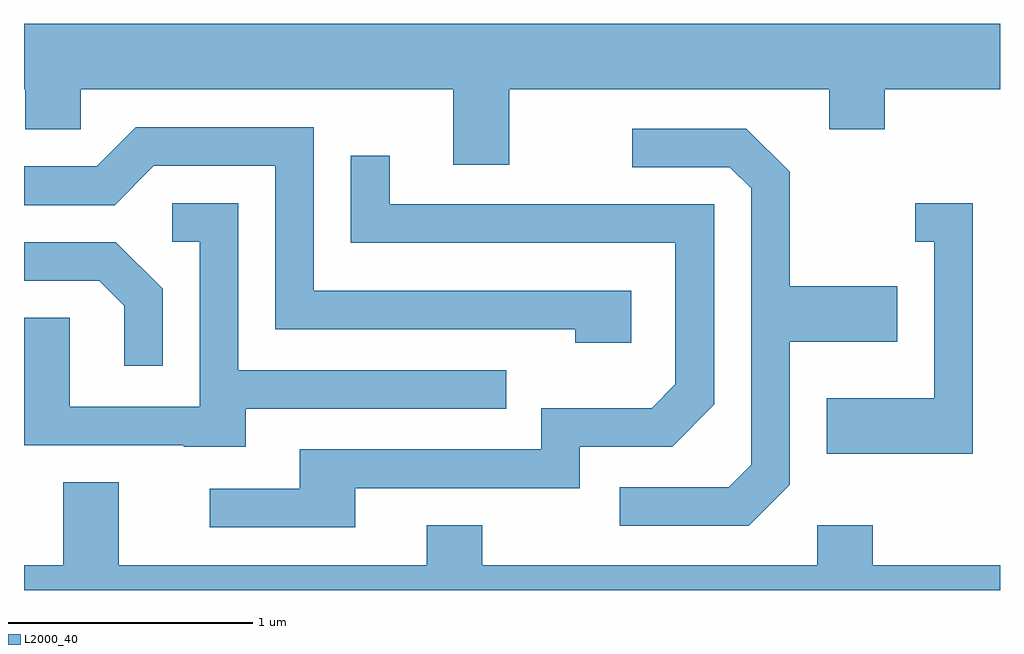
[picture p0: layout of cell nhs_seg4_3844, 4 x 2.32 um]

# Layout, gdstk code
import gdstk
lib = gdstk.Library(unit=1e-6, precision=1e-09)
def P(c, l, *ps):  # polygons
    for p in ps: c.add(gdstk.Polygon(p, *l))
L2000_40 = (2000, 40)

nhs_seg4_3844 = lib.new_cell('nhs_seg4_3844')
P(nhs_seg4_3844, L2000_40, [(299.599,1328.036),(300.911,1328.036),(300.911,1327.871),(301.139,1327.871),(301.139,1328.036),(301.611,1328.036),(301.611,1328.304),(297.611,1328.304),(297.611,1328.036),(297.616,1328.036),(297.616,1327.871),(297.844,1327.871),(297.844,1328.036),(299.371,1328.036),(299.371,1327.726),(299.599,1327.726)],
  [(300.099,1327.209),(298.799,1327.209),(298.799,1327.879),(298.069,1327.879),(297.909,1327.719),(297.611,1327.719),(297.611,1327.561),(297.982,1327.561),(298.142,1327.721),(298.641,1327.721),(298.641,1327.051),(299.871,1327.051),(299.871,1326.996),(300.099,1326.996)],
  [(300.749,1326.414),(300.749,1327.001),(301.189,1327.001),(301.189,1327.229),(300.749,1327.229),(300.749,1327.697),(300.572,1327.874),(300.103,1327.874),(300.103,1327.716),(300.504,1327.716),(300.591,1327.629),(300.591,1326.497),(300.499,1326.404),(300.053,1326.404),(300.053,1326.246),(300.582,1326.246)],
  [(298.969,1326.401),(299.889,1326.401),(299.889,1326.571),(300.267,1326.571),(300.439,1326.744),(300.439,1327.564),(299.109,1327.564),(299.109,1327.763),(298.951,1327.763),(298.951,1327.406),(300.281,1327.406),(300.281,1326.827),(300.184,1326.729),(299.731,1326.729),(299.731,1326.559),(298.741,1326.559),(298.741,1326.399),(298.373,1326.399),(298.373,1326.241),(298.969,1326.241)],
  [(301.499,1327.569),(301.263,1327.569),(301.263,1327.411),(301.341,1327.411),(301.341,1326.769),(300.901,1326.769),(300.901,1326.541),(301.499,1326.541)],
  [(298.519,1326.726),(299.588,1326.726),(299.588,1326.884),(298.489,1326.884),(298.489,1327.569),(298.218,1327.569),(298.218,1327.411),(298.331,1327.411),(298.331,1326.734),(297.799,1326.734),(297.799,1327.099),(297.611,1327.099),(297.611,1326.576),(298.265,1326.576),(298.265,1326.571),(298.519,1326.571)],
  [(298.179,1327.217),(297.987,1327.409),(297.611,1327.409),(297.611,1327.251),(297.919,1327.251),(298.021,1327.149),(298.021,1326.903),(298.179,1326.903)],
  [(301.611,1326.084),(301.089,1326.084),(301.089,1326.249),(300.861,1326.249),(300.861,1326.084),(299.489,1326.084),(299.489,1326.249),(299.261,1326.249),(299.261,1326.084),(297.999,1326.084),(297.999,1326.424),(297.771,1326.424),(297.771,1326.084),(297.611,1326.084),(297.611,1325.982),(301.611,1325.982)])

lib.write_gds('nhs_seg4_3844.gds')
